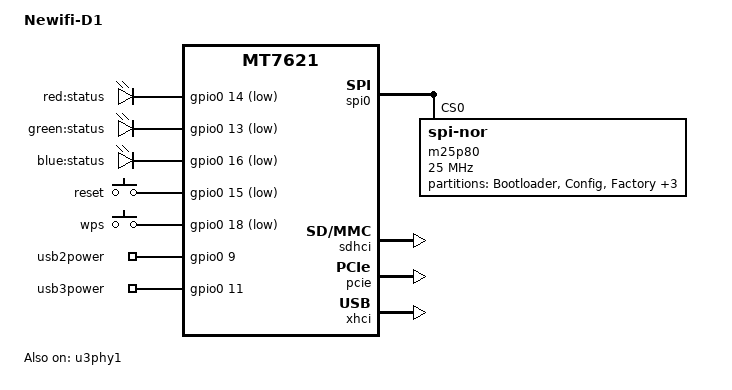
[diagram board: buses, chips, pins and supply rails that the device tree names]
/dts-v1/;

#include "mt7621.dtsi"
#include <dt-bindings/input/input.h>
#include "mt7621-spi-32m-layout.dtsi"
#include "mt7621-raeth-gmac2.dtsi"
#include "mt7621-pinctrl-default-gpio.dtsi"

/ {
	compatible = "mediatek,mt7621-soc";
	model = "Newifi-D1";

	chosen {
		bootargs = "console=ttyS0,115200";
	};

	leds {
		compatible = "gpio-leds";

		status-red {
			label = "red:status";
			gpios = <&gpio0 14 GPIO_ACTIVE_LOW>;
		};

		status-green {
			label = "green:status";
			gpios = <&gpio0 13 GPIO_ACTIVE_LOW>;
		};

		Internet: status-blue {
			label = "blue:status";
			gpios = <&gpio0 16 GPIO_ACTIVE_LOW>;
		};

	};

	gpio-keys-polled {
		compatible = "gpio-keys-polled";
		#address-cells = <1>;
		#size-cells = <0>;
		poll-interval = <20>;

		reset {
			label = "reset";
			gpios = <&gpio0 15 GPIO_ACTIVE_LOW>;
			linux,code = <KEY_RESTART>;
		};
		
		wps {
			label = "wps";
			gpios = <&gpio0 18 GPIO_ACTIVE_LOW>;
			linux,code = <KEY_WPS_BUTTON>;
		};
	};
	
	gpio_export {
		compatible = "gpio-export";
		#size-cells = <0>;

		usb2power {
			gpio-export,name = "usb2power";
			gpio-export,output = <1>;
			gpios = <&gpio0 9 GPIO_ACTIVE_HIGH>;
		};

		usb3power {
			gpio-export,name = "usb3power";
			gpio-export,output = <1>;
			gpios = <&gpio0 11 GPIO_ACTIVE_HIGH>;
		};
	};
};

&spi0 {
	status = "okay";

	m25p80@0 {
		#address-cells = <1>;
		#size-cells = <1>;
		compatible = "jedec,spi-nor";
		reg = <0>;
		spi-max-frequency = <25000000>;

		partition@0 {
			label = "Bootloader";
			reg = <0x00000 0x30000>; /* 192K */
		};

		partition@30000 {
			label = "Config";
			reg = <0x30000 0x10000>; /* 64K */
		};

		partition@40000 {
			label = "Factory";
			reg = <0x40000 0x10000>; /* 64K */
		};

		partition@50000 {
			label = "firmware";
			reg = <0x50000 0x1e00000>;
		};

		partition@1f80000 {
			label = "Storage";
			reg = <0x1e00000 0x2000000>; /* 2048K */
		};

		partition@all {
			label = "ALL";
			reg = <0x0 0x2000000>;
		};
	};
};

&sdhci {
	status = "okay";
};

&pcie {
	status = "okay";
};

&xhci {
	status = "okay";
};

&u3phy1 {
	status = "okay";
};

&pinctrl {
	state_default: pinctrl0 {
		gpio {
			mtk,group = "uart2", "uart3", "rgmii2", "sdhci";
			mtk,function = "gpio";
		};
	};
};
